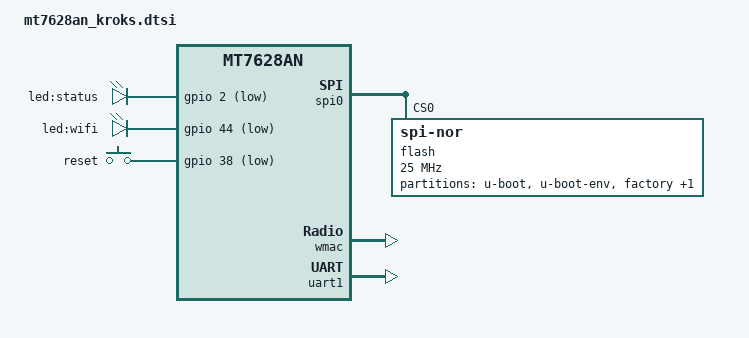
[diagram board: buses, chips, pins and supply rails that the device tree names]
// SPDX-License-Identifier: GPL-2.0-or-later OR MIT

#include "mt7628an.dtsi"

#include <dt-bindings/input/input.h>
#include <dt-bindings/gpio/gpio.h>

/ {
	aliases {
		led-boot = &led_status;
		led-failsafe = &led_status;
		led-running = &led_status;
		led-upgrade = &led_status;
		serial1 = &uart1;
	};

	leds {
		compatible = "gpio-leds";

		led_status: status {
			label = "led:status";
			gpios = <&gpio 2 GPIO_ACTIVE_LOW>;
		};

		wifi {
			label = "led:wifi";
			gpios = <&gpio 44 GPIO_ACTIVE_LOW>;
			linux,default-trigger = "phy0tpt";
		};
	};

	keys {
		compatible = "gpio-keys";

		reset {
			label = "reset";
			gpios = <&gpio 38 GPIO_ACTIVE_LOW>;
			linux,code = <KEY_RESTART>;
		};
	};
};

&spi0 {
	status = "okay";

	flash@0 {
		compatible = "jedec,spi-nor";
		reg = <0>;
		spi-max-frequency = <25000000>;
		m25p,fast-read;

		partitions: partitions {
			compatible = "fixed-partitions";
			#address-cells = <1>;
			#size-cells = <1>;

			partition@0 {
				label = "u-boot";
				reg = <0x0 0x30000>;
			};

			partition@30000 {
				label = "u-boot-env";
				reg = <0x30000 0x10000>;
			};

			factory: partition@40000 {
				label = "factory";
				reg = <0x40000 0x10000>;
			};

			partition@50000 {
				compatible = "denx,uimage";
				label = "firmware";
				reg = <0x50000 0xfb0000>;
			};
		};
	};
};

&state_default {
	gpio_reset {
		groups = "wdt";
		function = "gpio";
	};

	p0led_an {
		groups = "p0led_an";
		function = "p0led_an";
	};
};

&factory {
	compatible = "nvmem-cells";
	#address-cells = <1>;
	#size-cells = <1>;

	macaddr_factory_4: macaddr@4 {
		reg = <0x4 0x6>;
	};
};

&ethernet {
	nvmem-cells = <&macaddr_factory_4>;
	nvmem-cell-names = "mac-address";
};

&wmac {
	status = "okay";

	mediatek,mtd-eeprom = <&factory 0x0000>;
};

&uart1 {
	status = "okay";
};
